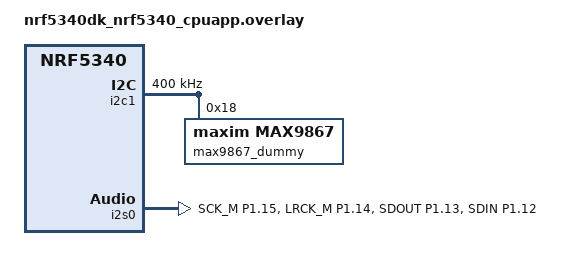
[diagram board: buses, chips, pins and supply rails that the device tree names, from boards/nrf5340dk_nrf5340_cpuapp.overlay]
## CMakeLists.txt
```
# SPDX-License-Identifier: Apache-2.0

cmake_minimum_required(VERSION 3.20.0)

# The nRF Connect VS Code extension caches -DCONF_FILE=<build>/_sysbuild/empty.conf
# from sysbuild runs and reuses it in --no-sysbuild / --pristine builds where that
# file does not yet exist.  Create it here, before find_package(Zephyr) checks for it.
if(DEFINED CONF_FILE AND "${CONF_FILE}" MATCHES "_sysbuild/empty\\.conf$")
  get_filename_component(_sysbuild_dir "${CONF_FILE}" DIRECTORY)
  if(NOT EXISTS "${CONF_FILE}")
    file(MAKE_DIRECTORY "${_sysbuild_dir}")
    file(WRITE "${CONF_FILE}" "# Auto-generated placeholder\n")
  endif()
  # In sysbuild mode FORCED_CONF_FILE is already set to the merged .config.sysbuild,
  # which includes prj.conf.  Only redirect in standalone (--no-sysbuild) mode.
  if(NOT DEFINED FORCED_CONF_FILE)
    set(CONF_FILE "${CMAKE_CURRENT_SOURCE_DIR}/prj.conf" CACHE STRING "" FORCE)
    # When CONF_FILE is overridden Zephyr no longer auto-loads the board app conf
    # (boards/<board_target>.conf).  Parse the BOARD argument ourselves (before
    # find_package(Zephyr) splits it) and pass it as EXTRA_CONF_FILE.
    if("${BOARD}" MATCHES "^([^/]+)/(.+)$")
      set(_b_name "${CMAKE_MATCH_1}")
      string(REPLACE "/" "_" _b_qual "${CMAKE_MATCH_2}")
      set(_board_conf_stem "${_b_name}_${_b_qual}")
    else()
      set(_board_conf_stem "${BOARD}")
    endif()
    set(_board_app_conf "${CMAKE_CURRENT_SOURCE_DIR}/boards/${_board_conf_stem}.conf")
    if(EXISTS "${_board_app_conf}")
      # Use a regular (non-cached) variable - Zephyr reads EXTRA_CONF_FILE as
      # a regular CMake variable, and we don't want this to persist to sysbuild runs.
      set(EXTRA_CONF_FILE "${_board_app_conf}")
    endif()
  else()
    # sysbuild mode: clear any stale EXTRA_CONF_FILE cached from a previous
    # standalone build so sysbuild gets a clean Kconfig environment.
    unset(EXTRA_CONF_FILE CACHE)
  endif()
endif()

find_package(Zephyr REQUIRED HINTS $ENV{ZEPHYR_BASE})
project(grptlk_audio_broadcast)

target_include_directories(app PRIVATE src)

# Common sources (all boards)
target_sources(app PRIVATE
  src/main.c
  src/io/led.c
  src/io/debug_gpio.c
)

# Local audio path uses the selected codec backend; relay-only path uses stubs.
if(CONFIG_GRPTLK_LOCAL_AUDIO_IO)
  target_sources(app PRIVATE
    src/audio/audio.c
    src/audio/drivers/audio_i2s.c
    src/audio/sync/clk_sync.c
  )

  if(CONFIG_GRPTLK_AUDIO_CODEC_CIRRUS)
    if(NOT ZEPHYR_CIRRUS_LOGIC_MODULE_DIR)
      message(FATAL_ERROR
        "cirrus-logic module not found (ZEPHYR_CIRRUS_LOGIC_MODULE_DIR missing)")
    endif()

    target_sources(app PRIVATE
      src/audio/backends/cs47l63.c
      src/audio/drivers/cs47l63_comm.c
    )

    add_subdirectory(${ZEPHYR_CIRRUS_LOGIC_MODULE_DIR} cirrus_logic_bin_dir)
  elseif(CONFIG_GRPTLK_AUDIO_CODEC_MAX9867)
    target_sources(app PRIVATE
      src/audio/backends/max9867.c
    )
  else()
    message(FATAL_ERROR "No GRPTLK audio codec backend selected")
  endif()
else()
  target_sources(app PRIVATE
    src/audio/backends/null_audio.c
    src/audio/sync/clk_sync_stub.c
  )
endif()

if(CONFIG_GRPTLK_PTT_VAD)
  target_sources(app PRIVATE
    src/vad/vad.c
    src/vad/fvad/fvad.c
    src/vad/fvad/vad/vad_core.c
    src/vad/fvad/vad/vad_filterbank.c
    src/vad/fvad/vad/vad_gmm.c
    src/vad/fvad/vad/vad_sp.c
    src/vad/fvad/signal_processing/division_operations.c
    src/vad/fvad/signal_processing/energy.c
    src/vad/fvad/signal_processing/get_scaling_square.c
    src/vad/fvad/signal_processing/resample_48khz.c
    src/vad/fvad/signal_processing/resample_by_2_internal.c
    src/vad/fvad/signal_processing/resample_fractional.c
    src/vad/fvad/signal_processing/spl_inl.c
  )
  target_include_directories(app PRIVATE
    src/vad/fvad
  )
endif()
```

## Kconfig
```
menuconfig GRPTLK
	bool "GRPTLK [EXPERIMENTAL]"
	select EXPERIMENTAL
	default n

if GRPTLK

choice GRPTLK_ROLE
	bool "GRPTLK Role"
	default GRPTLK_BCST

config GRPTLK_BCST
	bool "GRPTLK Broadcaster Role"

config GRPTLK_RECV
	bool "GRPTLK Receiver Role"

endchoice

config GRPTLK_NUM_CHAN
	int "Number of ISO channels (BISes)"
	default 5
	range 2 5
	help
	  Number of isochronous channels to support. Includes 1 downlink BIS
	  plus (n-1) uplink BISes for push-to-talk.

config GRPTLK_RELAY
	bool "Enable raw uplink-to-downlink relay"
	default y if !BOARD_NRF5340_AUDIO_DK_NRF5340_CPUAPP
	default n
	depends on GRPTLK_NUM_CHAN = 2
	depends on !GRPTLK_DOWNLINK_APPENDIX
	help
	  Forward the single uplink LC3 payload from BIS2 directly to downlink
	  BIS1 without decoding, mixing, or re-encoding it first.

	  This is intended for low-latency relay boards with exactly one uplink
	  BIS. It defaults to enabled on non-nRF5340 Audio DK boards when
	  GRPTLK_NUM_CHAN=2 and is unavailable when the 4-byte downlink appendix
	  is enabled.

choice GRPTLK_AUDIO_FRAME_DURATION
	prompt "Audio frame duration"
	default GRPTLK_AUDIO_FRAME_10_MS
	help
	  5ms: LC3Plus custom format (32kbps = 20 bytes/frame)
	  10ms: BAP 16_2_1 compliant LC3 (32kbps = 40 bytes/frame)

config GRPTLK_AUDIO_FRAME_5_MS
	bool "5 ms (LC3Plus custom)"

config GRPTLK_AUDIO_FRAME_10_MS
	bool "10 ms (BAP 16_2_1 LC3)"

endchoice

choice GRPTLK_LC3_CODEC
	prompt "LC3 codec implementation"
	default GRPTLK_LC3_CODEC_OPEN if GRPTLK_AUDIO_FRAME_5_MS
	default GRPTLK_LC3_CODEC_T2 if GRPTLK_AUDIO_FRAME_10_MS

config GRPTLK_LC3_CODEC_OPEN
	bool "Open-source liblc3 (default)"
	help
	  Use the open-source liblc3 codec (CONFIG_LIBLC3).

config GRPTLK_LC3_CODEC_T2
	bool "T2 Software LC3"
	select SW_CODEC_LC3
	select SW_CODEC_LC3_T2_SOFTWARE
	help
	  Use T2 Software LC3 codec via Nordic's sw_codec_lc3 wrapper.
	  Requires FP_HARDABI support.

endchoice

if GRPTLK_LC3_CODEC_T2

config LC3_DEC_CHAN_MAX
	int
	default GRPTLK_NUM_CHAN

endif

config GRPTLK_DEBUG_GPIO
	bool "Enable debug GPIO pins for logic analyzer"
	default n
	depends on BOARD_NRF5340_AUDIO_DK_NRF5340_CPUAPP
	help
	  Enable 4 GPIO output pins for timing analysis with logic analyzer.
	  D2/P0.31 = ISO recv, D3/P1.0 = LC3 decode, D4/P1.1 = LC3 encode, P1.14 = ISO sent
	  Only works on nRF5340 Audio DK. Keep disabled for other platforms.

config GRPTLK_INIT_LC3_CONSTANTLY
	bool "Experimental: reset uplink LC3 state on every valid packet"
	default n
	select LC3_PLC_DISABLED if GRPTLK_LC3_CODEC_T2
	help
		  Reinitialize the decoder state before every valid uplink decode so
		  that no LC3 history is carried across packets on a BIS.
		  Missed uplink packets are rendered as silence instead of invoking PLC.
		  This is intended to test whether decoder history is what breaks when
		  the receiver changes uplink BIS every interval.

config GRPTLK_AUDIO_FRAME_DURATION_MS
	int
	default 5 if GRPTLK_AUDIO_FRAME_5_MS
	default 10 if GRPTLK_AUDIO_FRAME_10_MS

config GRPTLK_AUDIO_RING_NUM_BLKS
	int
	default 8 if GRPTLK_AUDIO_FRAME_5_MS
	default 13 if GRPTLK_AUDIO_FRAME_10_MS

config GRPTLK_DOWNLINK_APPENDIX
	bool "Append 4-byte downlink ISO appendix"
	default n
	help
	  Append a 4-byte downlink application appendix after each LC3 frame in the
	  ISO SDU. This is used for the uplink BIS activity bitmap. Disable this to
	  send only raw LC3 payload bytes. Keep this aligned with the receiver
	  sample if both ends should use the same transport format.

config BT_ISO_TX_MTU
	default 24 if GRPTLK_AUDIO_FRAME_5_MS && GRPTLK_DOWNLINK_APPENDIX
	default 20 if GRPTLK_AUDIO_FRAME_5_MS
	default 44 if GRPTLK_AUDIO_FRAME_10_MS && GRPTLK_DOWNLINK_APPENDIX
	default 40 if GRPTLK_AUDIO_FRAME_10_MS

config BT_ISO_MAX_CHAN
	int
	default GRPTLK_NUM_CHAN

config BT_BAP_BROADCAST_SRC_STREAM_COUNT
	int
	default GRPTLK_NUM_CHAN

config NRFX_CLOCK
	default y

config GRPTLK_LOCAL_AUDIO_IO
	bool "Enable local audio I/O"
	default y if BOARD_NRF5340_AUDIO_DK_NRF5340_CPUAPP
	default n
	help
	  Enable local audio capture/playback plumbing for boards that have a
	  local audio source or sink. Disable this for relay-only boards that
	  only decode, mix, re-encode, and re-broadcast BIS audio.

if GRPTLK_LOCAL_AUDIO_IO

choice GRPTLK_AUDIO_CODEC
	prompt "Hardware audio codec"
	default GRPTLK_AUDIO_CODEC_CIRRUS

config GRPTLK_AUDIO_CODEC_CIRRUS
	bool "Cirrus CS47L63"
	help
	  Use the nRF5340 Audio DK's onboard CS47L63 codec backend.

config GRPTLK_AUDIO_CODEC_MAX9867
	bool "MAX9867"
	help
	  Use the sample-local MAX9867 backend on the LE Audio Playground
	  board. Build with FILE_SUFFIX=max9867 (or the legacy
	  FILE_SUFFIX=le_audio_playground alias) so the sample picks up the
	  external-codec devicetree overlay.

endchoice

config HW_CODEC_CIRRUS_LOGIC
	depends on GRPTLK_AUDIO_CODEC_CIRRUS
	default y if GRPTLK_AUDIO_CODEC_CIRRUS
	default n if GRPTLK_AUDIO_CODEC_MAX9867

config NRFX_I2S
	default y

config NRFX_I2S0
	default y

config I2C
	default y if GRPTLK_AUDIO_CODEC_MAX9867

config I2C_NRFX
	default y if GRPTLK_AUDIO_CODEC_MAX9867

config NRFX_TWIM
	default y if GRPTLK_AUDIO_CODEC_MAX9867

config NRFX_TWIM1
	default y if GRPTLK_AUDIO_CODEC_MAX9867

config GRPTLK_AUDIO_SOURCE_LINE_IN
	bool "Use 3.5mm line-in as audio source (instead of PDM mic)"
	default n
	depends on BOARD_NRF5340_AUDIO_DK_NRF5340_CPUAPP && GRPTLK_AUDIO_CODEC_CIRRUS
	help
	  When enabled, configures the CS47L63 to capture audio from the
	  3.5mm analog line-in jack instead of the onboard PDM microphone.
	  Connect a line-level source to J5 on the nRF5340 Audio DK. MAX9867
	  builds always use the analog MICRP path and do not support source
	  switching.

endif # GRPTLK_LOCAL_AUDIO_IO

config GRPTLK_PTT_VAD
	bool "PTT VAD mode (long-press detection on PTT-lock button)"
	default y
	help
	  When enabled, the PTT-lock button (sw3) distinguishes short and long
	  presses. Short press (<800 ms) toggles PTT-lock as usual. Long press
	  (>=800 ms) toggles VAD mode (green LED) instead of toggling the lock.

if GRPTLK_PTT_VAD

config GRPTLK_VAD_AGGRESSIVENESS
	int "VAD aggressiveness (0=quality, 3=aggressive filtering)"
	default 2
	range 0 3
	help
	  Controls libfvad filtering mode. 0 preserves more speech at the cost
	  of more false triggers, 3 aggressively filters noise but may clip
	  quiet speech. 2 is a good default for noisy environments.

config GRPTLK_VAD_ONSET_FRAMES
	int "VAD onset frames (consecutive speech before TX activation)"
	default 3
	range 1 10
	help
	  Number of consecutive 10 ms speech frames required before the VOX
	  state machine activates PTT. Higher values reduce false triggers
	  but increase onset latency. 3 = 30 ms onset delay.

config GRPTLK_VAD_HANGOVER_FRAMES
	int "VAD hangover frames (silence before TX deactivation)"
	default 30
	range 5 100
	help
	  Number of consecutive 10 ms silence frames after last detected speech
	  before PTT is deactivated. Prevents TX from cutting off during
	  natural speech pauses. 30 = 300 ms hangover.

config GRPTLK_VAD_ENERGY_THRESHOLD
	int "VAD energy gate — minimum peak amplitude to consider speech"
	default 200
	range 0 10000
	help
	  Frames whose peak absolute sample value is below this threshold are
	  forced to silence regardless of what libfvad reports. Filters out
	  low-level background noise that the VAD algorithm still triggers on.
	  0 disables the energy gate. Typical mic noise floor is 50-150;
	  200 is a conservative default. Raise for noisier environments.

endif # GRPTLK_PTT_VAD

endif # GRPTLK

source "Kconfig.zephyr"
```

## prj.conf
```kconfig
# GRPTLK
CONFIG_GRPTLK=y
CONFIG_GRPTLK_BCST=y

# System
CONFIG_SYSTEM_WORKQUEUE_STACK_SIZE=2048
CONFIG_MAIN_STACK_SIZE=4096

# Bluetooth
CONFIG_BT=y
CONFIG_BT_OBSERVER=y
CONFIG_BT_BROADCASTER=y
CONFIG_BT_DEVICE_NAME="GRPTLK Broadcaster"
CONFIG_BT_RX_STACK_SIZE=4096

CONFIG_BT_AUDIO=y
CONFIG_BT_BAP_BROADCAST_SOURCE=y
CONFIG_BT_AUDIO_CODEC_CFG_MAX_DATA_SIZE=32

# Host features
CONFIG_BT_HCI=y
CONFIG_BT_HCI_VS=y

# ISO features
CONFIG_BT_ISO_BROADCASTER=y
CONFIG_BT_ISO_SYNC_RECEIVER=y
CONFIG_BT_ISO_TX_BUF_COUNT=8
CONFIG_BT_ISO_RX_BUF_COUNT=8

# Logging
CONFIG_PRINTK=y
CONFIG_LOG=y
CONFIG_BT_ISO_LOG_LEVEL_DBG=y
CONFIG_LOG_BUFFER_SIZE=4096

# Set same ACL RX buffer size as in hci_ipc on netcore to support
# HCI Controller to Host Flow Control.
CONFIG_BT_BUF_ACL_RX_SIZE=255

# Add Ozone debugger support
CONFIG_DEBUG_THREAD_INFO=y
CONFIG_HEAP_MEM_POOL_SIZE=8192

# LC3 (LC3Plus enabled for 5 ms frame duration support)
CONFIG_LIBLC3=y
CONFIG_LIBLC3_PLUS=y
CONFIG_FPU=y

# Common audio-related services
CONFIG_GPIO=y
CONFIG_NRFX_CLOCK=y

CONFIG_THREAD_NAME=y
```

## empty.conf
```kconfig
# Empty Kconfig fragment - used as a placeholder CONF_FILE when no
# additional configuration is needed (e.g. during sysbuild or IDE builds).
```

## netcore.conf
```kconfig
# Enable GRPTLK also in the netcore
CONFIG_GRPTLK=y

# Advertisement and Scan Data Lengths
CONFIG_BT_CTLR_ADV_DATA_LEN_MAX=191
CONFIG_BT_CTLR_SCAN_DATA_LEN_MAX=255

# ISO Settings
CONFIG_BT_CTLR_ADV_ISO=y
CONFIG_BT_CTLR_ADV_ISO_INTERLEAVED=n
CONFIG_BT_CTLR_ADV_ISO_PDU_LEN_MAX=247
CONFIG_BT_CTLR_ADV_ISO_STREAM_MAX=5
CONFIG_BT_CTLR_ADV_ISO_STREAM_COUNT=5
CONFIG_BT_CTLR_ISOAL_SOURCES=5

CONFIG_BT_CTLR_SYNC_ISO=y
CONFIG_BT_CTLR_SYNC_ISO_INTERLEAVED=n
CONFIG_BT_CTLR_SYNC_ISO_PDU_LEN_MAX=251
CONFIG_BT_CTLR_SYNC_ISO_STREAM_MAX=5
CONFIG_BT_CTLR_SYNC_ISO_STREAM_COUNT=5

# ISOAL Settings
CONFIG_BT_CTLR_ISOAL_SOURCES=5
CONFIG_BT_CTLR_ISOAL_SINKS=5

# Support 44-byte ISO transport SDUs (40-byte LC3 frame + 4-byte downlink appendix)
CONFIG_BT_CTLR_ISO_TX_SDU_LEN_MAX=44
CONFIG_BT_CTLR_ISO_TX_BUFFER_SIZE=56

# TX Power
CONFIG_BT_CTLR_TX_PWR_PLUS_3=y

# hci_ipc enables experimental controller options in this profile.
CONFIG_WARN_EXPERIMENTAL=n

# Keep default hci_ipc heap and reduce ISO HCI raw buffer footprint.
CONFIG_HEAP_MEM_POOL_SIZE=4096
CONFIG_BT_ISO_MAX_CHAN=5
CONFIG_BT_ISO_TX_MTU=44
CONFIG_BT_ISO_RX_MTU=46
```

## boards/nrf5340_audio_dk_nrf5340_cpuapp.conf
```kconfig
CONFIG_SPI=y
CONFIG_GRPTLK_DEBUG_GPIO=y
CONFIG_GRPTLK_VAD_AGGRESSIVENESS=3
CONFIG_GRPTLK_VAD_ENERGY_THRESHOLD=800
```

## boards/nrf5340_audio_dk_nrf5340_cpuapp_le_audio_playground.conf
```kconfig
CONFIG_SPI=n
CONFIG_GRPTLK_DEBUG_GPIO=n
CONFIG_GRPTLK_AUDIO_CODEC_MAX9867=y
CONFIG_GRPTLK_VAD_AGGRESSIVENESS=3
CONFIG_GRPTLK_VAD_ENERGY_THRESHOLD=500
```

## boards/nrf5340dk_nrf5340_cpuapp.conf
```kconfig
# Relay-only mode: nrf5340dk has no CS47L63 audio codec
CONFIG_GRPTLK_RELAY_ONLY=y
```

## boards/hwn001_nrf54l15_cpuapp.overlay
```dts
&bt_hci_controller {
    status = "okay";
};

&bt_hci_sdc {
    status = "disabled";
};

&gpio2 {
    status = "okay";
};

/ {
    chosen {
        zephyr,bt-hci = &bt_hci_controller;
    };
};
```

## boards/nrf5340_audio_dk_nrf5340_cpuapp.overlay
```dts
/* Use ACLK/HFCLKAUDIO for stable 16 kHz I2S master clocking on nRF5340 Audio DK. */
&clock {
	hfclkaudio-frequency = <12288000>;
};

&i2s0 {
	clock-source = "ACLK";
};

/* Expose BTN4 (sw3) for PTT-lock toggle and LED1 (led0) for status indication. */
/ {
	aliases {
		sw3 = &button4;
		led0 = &rgb1_red;
		led1 = &rgb1_green;
	};
};
```

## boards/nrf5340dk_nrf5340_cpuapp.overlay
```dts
/* Expose BTN4 (button3) for PTT-lock toggle and LED1 (led0) for status indication. */
/ {
	aliases {
		sw3 = &button3;
		led0 = &led0;
		i2s-node0 = &i2s0;
	};
};

/* Provide dummy i2s and i2c definitions to satisfy MAX9867 backend constraints
 * during RELAY-only compilation. 
 */
&i2c1 {
	status = "okay";
	clock-frequency = <I2C_BITRATE_FAST>;
	max9867_dummy: max9867@18 {
		compatible = "maxim,max9867";
		reg = <0x18>;
	};
};

&pinctrl {
	i2s0_dummy: i2s0_dummy {
		group1 {
			psels = <NRF_PSEL(I2S_SCK_M, 1, 15)>,
				<NRF_PSEL(I2S_LRCK_M, 1, 14)>,
				<NRF_PSEL(I2S_SDOUT, 1, 13)>,
				<NRF_PSEL(I2S_SDIN, 1, 12)>;
		};
	};
};

&i2s0 {
	status = "okay";
	pinctrl-0 = <&i2s0_dummy>;
	pinctrl-names = "default";
};
```

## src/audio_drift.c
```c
#include "audio_drift.h"
#include <string.h>

void audio_drift_init(struct audio_drift_ctx *ctx, struct ring_buf *rb,
		      uint32_t frame_size, uint32_t prefill_frames,
		      uint32_t low_water_frames, uint32_t high_water_frames)
{
	ctx->ringbuf = rb;
	ctx->frame_size = frame_size;
	ctx->prefill_frames = prefill_frames;
	ctx->low_watermark_frames = low_water_frames;
	ctx->high_watermark_frames = high_water_frames;
	ctx->is_started = false;
	ctx->dropped_frames = 0;
	ctx->inserted_frames = 0;
	ctx->underruns = 0;
	ctx->overruns = 0;
	memset(ctx->last_frame, 0, sizeof(ctx->last_frame));
}

void audio_drift_reset(struct audio_drift_ctx *ctx)
{
	ring_buf_reset(ctx->ringbuf);
	ctx->is_started = false;
	memset(ctx->last_frame, 0, sizeof(ctx->last_frame));
}

uint32_t audio_drift_fill_level(struct audio_drift_ctx *ctx)
{
	if (ctx == NULL || ctx->ringbuf == NULL) {
		return 0;
	}
	return ring_buf_size_get(ctx->ringbuf) / ctx->frame_size;
}

uint32_t audio_drift_write(struct audio_drift_ctx *ctx, const void *data, uint32_t frames)
{
	uint32_t bytes = frames * ctx->frame_size;
	uint32_t written = ring_buf_put(ctx->ringbuf, (const uint8_t *)data, bytes);
	
	if (written < bytes) {
		ctx->overruns++;
	}
	return written / ctx->frame_size;
}

uint32_t audio_drift_read(struct audio_drift_ctx *ctx, void *data, uint32_t frames)
{
	uint32_t out_frames = 0;
	uint8_t *dst = (uint8_t *)data;
	bool modified_this_tx = false;

	uint32_t available = audio_drift_fill_level(ctx);

	if (!ctx->is_started) {
		if (available >= ctx->prefill_frames) {
			ctx->is_started = true;
		} else {
			/* Still prefilling */
			memset(data, 0, frames * ctx->frame_size);
			return 0;
		}
	}

	for (uint32_t i = 0; i < frames; i++) {
		available = audio_drift_fill_level(ctx);

		if (available == 0) {
			/* Underrun */
			ctx->is_started = false;
			ctx->underruns++;
			memset(dst, 0, ctx->frame_size);
			memset(ctx->last_frame, 0, ctx->frame_size);
			dst += ctx->frame_size;
			continue;
		}

		/* Check if we should insert to avoid underrun. Max 1 adjust per read call */
		if (!modified_this_tx && available < ctx->low_watermark_frames) {
			memcpy(dst, ctx->last_frame, ctx->frame_size);
			ctx->inserted_frames++;
			modified_this_tx = true;
			dst += ctx->frame_size;
			continue;
		}

		/* Check if we should drop to avoid overrun. Max 1 adjust per read call */
		if (!modified_this_tx && available > ctx->high_watermark_frames) {
			uint8_t temp[512];
			ring_buf_get(ctx->ringbuf, temp, ctx->frame_size);
			ctx->dropped_frames++;
			modified_this_tx = true;
			available--;
		}

		if (available > 0) {
			ring_buf_get(ctx->ringbuf, dst, ctx->frame_size);
			memcpy(ctx->last_frame, dst, ctx->frame_size);
			out_frames++;
		} else {
			/* We dropped the last available frame */
			memset(dst, 0, ctx->frame_size);
			memset(ctx->last_frame, 0, ctx->frame_size);
			ctx->underruns++;
			ctx->is_started = false;
		}

		dst += ctx->frame_size;
	}

	return out_frames;
}
```

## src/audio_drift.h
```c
#ifndef GRPTLK_AUDIO_DRIFT_H_
#define GRPTLK_AUDIO_DRIFT_H_

#include <stdint.h>
#include <stdbool.h>
#include <zephyr/sys/ring_buffer.h>

/**
 * @brief Drift compensation context for a PCM buffer.
 *
 * This context manages an elastic ring buffer that performs
 * occasional frame dropping or duplication to compensate for
 * asynchronous clock domains.
 */
struct audio_drift_ctx {
	struct ring_buf *ringbuf;
	uint32_t frame_size; /* 2 for mono, 4 for stereo */

	uint32_t prefill_frames;
	uint32_t low_watermark_frames;
	uint32_t high_watermark_frames;

	bool is_started; /* False until prefill is reached */
	
	/* Statistics */
	uint32_t dropped_frames;
	uint32_t inserted_frames;
	uint32_t underruns;
	uint32_t overruns;

	/* State for duplication */
	uint8_t last_frame[512]; 
};

/**
 * @brief Initialize an audio drift context.
 *
 * @param ctx The context to initialize.
 * @param rb The backing ring buffer (must be initialized by the caller).
 * @param frame_size Size of a single PCM frame in bytes (e.g. 2 for mono 16-bit, 4 for stereo 16-bit).
 * @param prefill_frames Number of frames to buffer before starting reads.
 * @param low_water_frames Low watermark; below this, duplicate frames are inserted.
 * @param high_water_frames High watermark; above this, frames are dropped.
 */
void audio_drift_init(struct audio_drift_ctx *ctx, struct ring_buf *rb,
		      uint32_t frame_size, uint32_t prefill_frames,
		      uint32_t low_water_frames, uint32_t high_water_frames);

/**
 * @brief Write PCM frames into the drift buffer.
 *
 * @param ctx The drift context.
 * @param data PCM data to write.
 * @param frames Number of frames to write.
 * @return Number of frames successfully written.
 */
uint32_t audio_drift_write(struct audio_drift_ctx *ctx, const void *data, uint32_t frames);

/**
 * @brief Read PCM frames from the drift buffer.
 *
 * If the buffer length falls below the low watermark, a frame might
 * be duplicated. If it goes above the high watermark, a frame might be dropped.
 * If there is not enough data, zeroes or the last frame will be used to pad.
 *
 * @param ctx The drift context.
 * @param data Buffer to read into.
 * @param frames Number of frames requested.
 * @return Number of valid frames actually pulled from the buffer. The rest of the
 *         requested frames in 'data' are synthetically generated (padded).
 */
uint32_t audio_drift_read(struct audio_drift_ctx *ctx, void *data, uint32_t frames);

/**
 * @brief Reset the drift buffer and state.
 */
void audio_drift_reset(struct audio_drift_ctx *ctx);

/**
 * @brief Get the current fill level in frames.
 */
uint32_t audio_drift_fill_level(struct audio_drift_ctx *ctx);

#endif /* GRPTLK_AUDIO_DRIFT_H_ */
```
